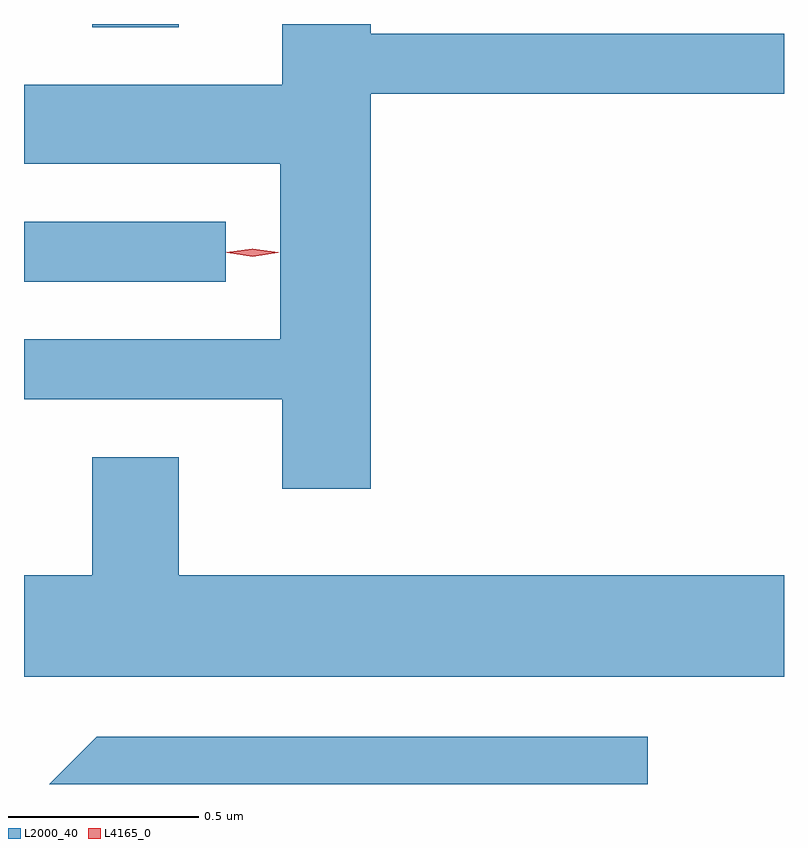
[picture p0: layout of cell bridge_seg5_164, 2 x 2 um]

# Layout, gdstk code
import gdstk
lib = gdstk.Library(unit=1e-6, precision=1e-09)
def R(c, l, rs):  # rectangles x0, y0, x1, y1
    for r in rs: c.add(gdstk.rectangle(r[:2], r[2:], *l))
def P(c, l, *ps):  # polygons
    for p in ps: c.add(gdstk.Polygon(p, *l))
L2000_40 = (2000, 40)
L4165_0 = (4165, 0)

bridge_seg5_164 = lib.new_cell('bridge_seg5_164')
R(bridge_seg5_164, L2000_40, [(1123.672,1446.736,1124.203,1446.894), (1123.851,1447.406,1124.079,1447.414)])
P(bridge_seg5_164, L2000_40, [(1124.584,1447.231),(1125.672,1447.231),(1125.672,1447.389),(1124.584,1447.389),(1124.584,1447.414),(1124.351,1447.414),(1124.351,1447.254),(1123.672,1447.254),(1123.672,1447.046),(1124.346,1447.046),(1124.346,1446.584),(1123.672,1446.584),(1123.672,1446.426),(1124.351,1446.426),(1124.351,1446.191),(1124.584,1446.191)],
  [(1125.672,1445.964),(1124.079,1445.964),(1124.079,1446.274),(1123.851,1446.274),(1123.851,1445.964),(1123.672,1445.964),(1123.672,1445.696),(1125.672,1445.696)],
  [(1125.314,1445.539),(1123.864,1445.539),(1123.739,1445.414),(1125.314,1445.414)])
P(bridge_seg5_164, L4165_0, [(1124.273,1446.803),(1124.204,1446.813),(1124.204,1446.813),(1124.204,1446.814),(1124.273,1446.823),(1124.342,1446.814),(1124.342,1446.813),(1124.342,1446.813)],
  [(1124.274,1446.802),(1124.207,1446.812),(1124.207,1446.812),(1124.207,1446.813),(1124.274,1446.822),(1124.34,1446.813),(1124.34,1446.812),(1124.34,1446.812)])

lib.write_gds('bridge_seg5_164.gds')
